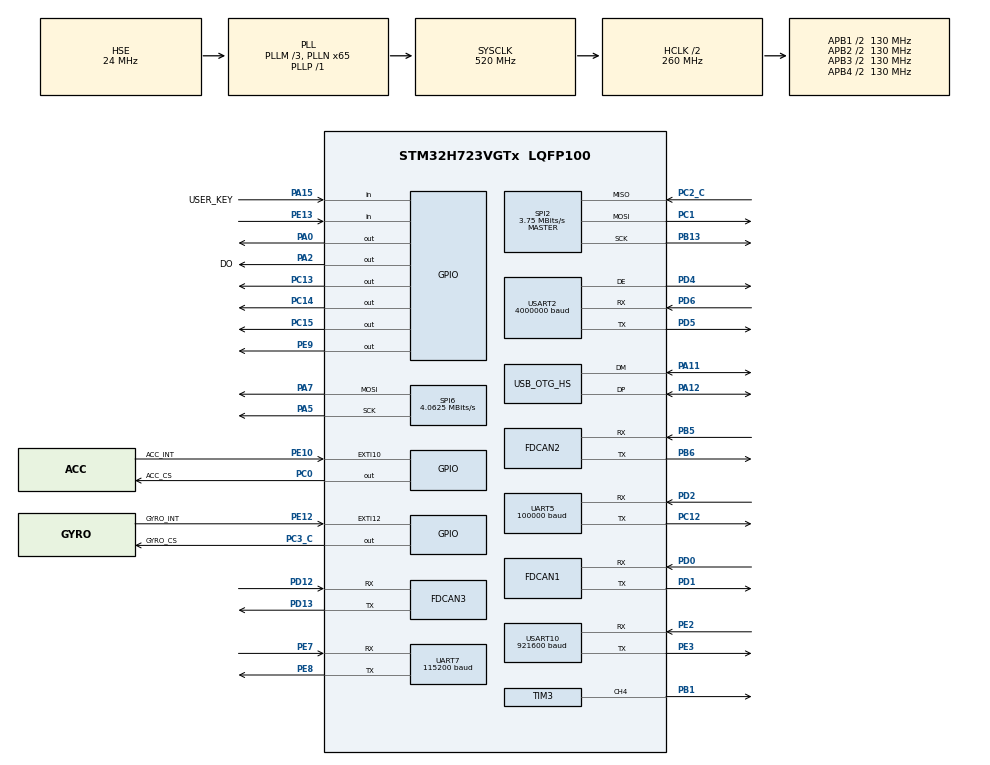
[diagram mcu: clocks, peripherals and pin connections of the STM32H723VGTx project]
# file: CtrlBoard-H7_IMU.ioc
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Dma.Request0=SPI2_RX
Dma.Request1=SPI2_TX
Dma.Request2=UART5_RX
Dma.Request3=USART2_RX
Dma.Request4=USART2_TX
Dma.Request5=USART10_RX
Dma.Request6=USART10_TX
Dma.Request7=UART5_TX
Dma.SPI2_RX.0.Direction=DMA_PERIPH_TO_MEMORY
Dma.SPI2_RX.0.EventEnable=DISABLE
Dma.SPI2_RX.0.FIFOMode=DMA_FIFOMODE_DISABLE
Dma.SPI2_RX.0.Instance=DMA1_Stream0
Dma.SPI2_RX.0.MemDataAlignment=DMA_MDATAALIGN_BYTE
Dma.SPI2_RX.0.MemInc=DMA_MINC_ENABLE
Dma.SPI2_RX.0.Mode=DMA_NORMAL
Dma.SPI2_RX.0.PeriphDataAlignment=DMA_PDATAALIGN_BYTE
Dma.SPI2_RX.0.PeriphInc=DMA_PINC_DISABLE
Dma.SPI2_RX.0.Polarity=HAL_DMAMUX_REQ_GEN_RISING
Dma.SPI2_RX.0.Priority=DMA_PRIORITY_VERY_HIGH
Dma.SPI2_RX.0.RequestNumber=1
Dma.SPI2_RX.0.SignalID=NONE
Dma.SPI2_RX.0.SyncEnable=DISABLE
Dma.SPI2_RX.0.SyncPolarity=HAL_DMAMUX_SYNC_NO_EVENT
Dma.SPI2_RX.0.SyncRequestNumber=1
Dma.SPI2_RX.0.SyncSignalID=NONE
Dma.SPI2_TX.1.Direction=DMA_MEMORY_TO_PERIPH
Dma.SPI2_TX.1.EventEnable=DISABLE
Dma.SPI2_TX.1.FIFOMode=DMA_FIFOMODE_DISABLE
Dma.SPI2_TX.1.Instance=DMA1_Stream1
Dma.SPI2_TX.1.MemDataAlignment=DMA_MDATAALIGN_BYTE
Dma.SPI2_TX.1.MemInc=DMA_MINC_ENABLE
Dma.SPI2_TX.1.Mode=DMA_NORMAL
Dma.SPI2_TX.1.PeriphDataAlignment=DMA_PDATAALIGN_BYTE
Dma.SPI2_TX.1.PeriphInc=DMA_PINC_DISABLE
Dma.SPI2_TX.1.Polarity=HAL_DMAMUX_REQ_GEN_RISING
Dma.SPI2_TX.1.Priority=DMA_PRIORITY_HIGH
Dma.SPI2_TX.1.RequestNumber=1
Dma.SPI2_TX.1.SignalID=NONE
Dma.SPI2_TX.1.SyncEnable=DISABLE
Dma.SPI2_TX.1.SyncPolarity=HAL_DMAMUX_SYNC_NO_EVENT
Dma.SPI2_TX.1.SyncRequestNumber=1
Dma.SPI2_TX.1.SyncSignalID=NONE
Dma.UART5_RX.2.Direction=DMA_PERIPH_TO_MEMORY
Dma.UART5_RX.2.EventEnable=DISABLE
Dma.UART5_RX.2.FIFOMode=DMA_FIFOMODE_DISABLE
Dma.UART5_RX.2.Instance=DMA1_Stream2
Dma.UART5_RX.2.MemDataAlignment=DMA_MDATAALIGN_BYTE
Dma.UART5_RX.2.MemInc=DMA_MINC_ENABLE
Dma.UART5_RX.2.Mode=DMA_CIRCULAR
Dma.UART5_RX.2.PeriphDataAlignment=DMA_PDATAALIGN_BYTE
Dma.UART5_RX.2.PeriphInc=DMA_PINC_DISABLE
Dma.UART5_RX.2.Polarity=HAL_DMAMUX_REQ_GEN_RISING
Dma.UART5_RX.2.Priority=DMA_PRIORITY_VERY_HIGH
Dma.UART5_RX.2.RequestNumber=1
Dma.UART5_RX.2.SignalID=NONE
Dma.UART5_RX.2.SyncEnable=DISABLE
Dma.UART5_RX.2.SyncPolarity=HAL_DMAMUX_SYNC_NO_EVENT
Dma.UART5_RX.2.SyncRequestNumber=1
Dma.UART5_RX.2.SyncSignalID=NONE
Dma.UART5_TX.7.Direction=DMA_MEMORY_TO_PERIPH
Dma.UART5_TX.7.EventEnable=DISABLE
Dma.UART5_TX.7.FIFOMode=DMA_FIFOMODE_DISABLE
Dma.UART5_TX.7.Instance=DMA1_Stream7
Dma.UART5_TX.7.MemDataAlignment=DMA_MDATAALIGN_BYTE
Dma.UART5_TX.7.MemInc=DMA_MINC_ENABLE
Dma.UART5_TX.7.Mode=DMA_NORMAL
Dma.UART5_TX.7.PeriphDataAlignment=DMA_PDATAALIGN_BYTE
Dma.UART5_TX.7.PeriphInc=DMA_PINC_DISABLE
Dma.UART5_TX.7.Polarity=HAL_DMAMUX_REQ_GEN_RISING
Dma.UART5_TX.7.Priority=DMA_PRIORITY_VERY_HIGH
Dma.UART5_TX.7.RequestNumber=1
Dma.UART5_TX.7.SignalID=NONE
Dma.UART5_TX.7.SyncEnable=DISABLE
Dma.UART5_TX.7.SyncPolarity=HAL_DMAMUX_SYNC_NO_EVENT
Dma.UART5_TX.7.SyncRequestNumber=1
Dma.UART5_TX.7.SyncSignalID=NONE
Dma.USART10_RX.5.Direction=DMA_PERIPH_TO_MEMORY
Dma.USART10_RX.5.EventEnable=DISABLE
Dma.USART10_RX.5.FIFOMode=DMA_FIFOMODE_DISABLE
Dma.USART10_RX.5.Instance=DMA1_Stream5
Dma.USART10_RX.5.MemDataAlignment=DMA_MDATAALIGN_BYTE
Dma.USART10_RX.5.MemInc=DMA_MINC_ENABLE
Dma.USART10_RX.5.Mode=DMA_CIRCULAR
Dma.USART10_RX.5.PeriphDataAlignment=DMA_PDATAALIGN_BYTE
Dma.USART10_RX.5.PeriphInc=DMA_PINC_DISABLE
Dma.USART10_RX.5.Polarity=HAL_DMAMUX_REQ_GEN_RISING
Dma.USART10_RX.5.Priority=DMA_PRIORITY_HIGH
Dma.USART10_RX.5.RequestNumber=1
Dma.USART10_RX.5.SignalID=NONE
Dma.USART10_RX.5.SyncEnable=DISABLE
Dma.USART10_RX.5.SyncPolarity=HAL_DMAMUX_SYNC_NO_EVENT
Dma.USART10_RX.5.SyncRequestNumber=1
Dma.USART10_RX.5.SyncSignalID=NONE
Dma.USART10_TX.6.Direction=DMA_MEMORY_TO_PERIPH
Dma.USART10_TX.6.EventEnable=DISABLE
Dma.USART10_TX.6.FIFOMode=DMA_FIFOMODE_DISABLE
Dma.USART10_TX.6.Instance=DMA1_Stream6
Dma.USART10_TX.6.MemDataAlignment=DMA_MDATAALIGN_BYTE
Dma.USART10_TX.6.MemInc=DMA_MINC_ENABLE
Dma.USART10_TX.6.Mode=DMA_NORMAL
Dma.USART10_TX.6.PeriphDataAlignment=DMA_PDATAALIGN_BYTE
Dma.USART10_TX.6.PeriphInc=DMA_PINC_DISABLE
Dma.USART10_TX.6.Polarity=HAL_DMAMUX_REQ_GEN_RISING
Dma.USART10_TX.6.Priority=DMA_PRIORITY_HIGH
Dma.USART10_TX.6.RequestNumber=1
Dma.USART10_TX.6.SignalID=NONE
Dma.USART10_TX.6.SyncEnable=DISABLE
Dma.USART10_TX.6.SyncPolarity=HAL_DMAMUX_SYNC_NO_EVENT
Dma.USART10_TX.6.SyncRequestNumber=1
Dma.USART10_TX.6.SyncSignalID=NONE
Dma.USART2_RX.3.Direction=DMA_PERIPH_TO_MEMORY
Dma.USART2_RX.3.EventEnable=DISABLE
Dma.USART2_RX.3.FIFOMode=DMA_FIFOMODE_DISABLE
Dma.USART2_RX.3.Instance=DMA1_Stream3
Dma.USART2_RX.3.MemDataAlignment=DMA_MDATAALIGN_BYTE
Dma.USART2_RX.3.MemInc=DMA_MINC_ENABLE
Dma.USART2_RX.3.Mode=DMA_CIRCULAR
Dma.USART2_RX.3.PeriphDataAlignment=DMA_PDATAALIGN_BYTE
Dma.USART2_RX.3.PeriphInc=DMA_PINC_DISABLE
Dma.USART2_RX.3.Polarity=HAL_DMAMUX_REQ_GEN_RISING
Dma.USART2_RX.3.Priority=DMA_PRIORITY_HIGH
Dma.USART2_RX.3.RequestNumber=1
Dma.USART2_RX.3.SignalID=NONE
Dma.USART2_RX.3.SyncEnable=DISABLE
Dma.USART2_RX.3.SyncPolarity=HAL_DMAMUX_SYNC_NO_EVENT
Dma.USART2_RX.3.SyncRequestNumber=1
Dma.USART2_RX.3.SyncSignalID=NONE
Dma.USART2_TX.4.Direction=DMA_MEMORY_TO_PERIPH
Dma.USART2_TX.4.EventEnable=DISABLE
Dma.USART2_TX.4.FIFOMode=DMA_FIFOMODE_DISABLE
Dma.USART2_TX.4.Instance=DMA1_Stream4
Dma.USART2_TX.4.MemDataAlignment=DMA_MDATAALIGN_BYTE
Dma.USART2_TX.4.MemInc=DMA_MINC_ENABLE
Dma.USART2_TX.4.Mode=DMA_NORMAL
Dma.USART2_TX.4.PeriphDataAlignment=DMA_PDATAALIGN_BYTE
Dma.USART2_TX.4.PeriphInc=DMA_PINC_DISABLE
Dma.USART2_TX.4.Polarity=HAL_DMAMUX_REQ_GEN_RISING
Dma.USART2_TX.4.Priority=DMA_PRIORITY_HIGH
Dma.USART2_TX.4.RequestNumber=1
Dma.USART2_TX.4.SignalID=NONE
Dma.USART2_TX.4.SyncEnable=DISABLE
Dma.USART2_TX.4.SyncPolarity=HAL_DMAMUX_SYNC_NO_EVENT
Dma.USART2_TX.4.SyncRequestNumber=1
Dma.USART2_TX.4.SyncSignalID=NONE
FDCAN1.CalculateBaudRateNominal=1000000
FDCAN1.CalculateTimeBitNominal=1000
FDCAN1.CalculateTimeQuantumNominal=25.0
FDCAN1.DataPrescaler=3
FDCAN1.DataSyncJumpWidth=10
FDCAN1.DataTimeSeg1=29
FDCAN1.DataTimeSeg2=10
FDCAN1.ExtFiltersNbr=5
FDCAN1.MessageRAMOffset=5
FDCAN1.NominalPrescaler=3
FDCAN1.NominalSyncJumpWidth=10
FDCAN1.NominalTimeSeg1=29
FDCAN1.NominalTimeSeg2=10
FDCAN1.ProtocolException=ENABLE
FDCAN1.RxFifo0ElmtSize=FDCAN_DATA_BYTES_8
FDCAN1.RxFifo0ElmtsNbr=8
FDCAN1.RxFifo1ElmtSize=FDCAN_DATA_BYTES_8
FDCAN1.StdFiltersNbr=5
FDCAN1.TxElmtSize=FDCAN_DATA_BYTES_8
FDCAN1.TxFifoQueueElmtsNbr=8
FDCAN2.CalculateBaudRateNominal=1000000
FDCAN2.CalculateTimeBitNominal=1000
FDCAN2.CalculateTimeQuantumNominal=25.0
FDCAN2.DataPrescaler=3
FDCAN2.DataSyncJumpWidth=10
FDCAN2.DataTimeSeg1=29
FDCAN2.DataTimeSeg2=10
FDCAN2.ExtFiltersNbr=5
FDCAN2.MessageRAMOffset=854
FDCAN2.NominalPrescaler=3
FDCAN2.NominalSyncJumpWidth=10
FDCAN2.NominalTimeSeg1=29
FDCAN2.NominalTimeSeg2=10
FDCAN2.ProtocolException=ENABLE
FDCAN2.RxFifo1ElmtSize=FDCAN_DATA_BYTES_8
FDCAN2.RxFifo1ElmtsNbr=8
FDCAN2.StdFiltersNbr=5
FDCAN2.TxElmtSize=FDCAN_DATA_BYTES_8
FDCAN2.TxFifoQueueElmtsNbr=8
FDCAN3.CalculateBaudRateNominal=1000000
FDCAN3.CalculateTimeBitNominal=1000
FDCAN3.CalculateTimeQuantumNominal=25.0
FDCAN3.DataPrescaler=3
FDCAN3.DataSyncJumpWidth=10
FDCAN3.DataTimeSeg1=29
FDCAN3.DataTimeSeg2=5
FDCAN3.ExtFiltersNbr=5
FDCAN3.MessageRAMOffset=1709
FDCAN3.NominalPrescaler=3
FDCAN3.NominalSyncJumpWidth=10
FDCAN3.NominalTimeSeg1=29
FDCAN3.NominalTimeSeg2=10
FDCAN3.ProtocolException=ENABLE
FDCAN3.RxFifo0ElmtSize=FDCAN_DATA_BYTES_8
FDCAN3.RxFifo0ElmtsNbr=4
FDCAN3.StdFiltersNbr=5
FDCAN3.TxElmtSize=FDCAN_DATA_BYTES_8
FDCAN3.TxFifoQueueElmtsNbr=8
FREERTOS.MEMORY_ALLOCATION=0
FREERTOS.Tasks01=serviceTask,8,256,StartServiceTask,Default,NULL,Dynamic,NULL,NULL;inputTask,48,512,StartInputTask,Default,NULL,Dynamic,NULL,NULL
FREERTOS.configENABLE_FPU=1
FREERTOS.configTOTAL_HEAP_SIZE=30720
Mcu.Family=STM32H7
Mcu.Name=STM32H723VGTx
Mcu.Package=LQFP100
NVIC.DMA1_Stream0_IRQn=true\:6\:0\:true\:false\:true\:true\:false\:true\:true
NVIC.DMA1_Stream1_IRQn=true\:6\:0\:true\:false\:true\:true\:false\:true\:true
NVIC.DMA1_Stream2_IRQn=true\:5\:0\:false\:false\:true\:true\:false\:true\:true
NVIC.DMA1_Stream3_IRQn=true\:5\:0\:false\:false\:true\:true\:false\:true\:true
NVIC.DMA1_Stream4_IRQn=true\:5\:0\:false\:false\:true\:true\:false\:true\:true
NVIC.DMA1_Stream5_IRQn=true\:5\:0\:false\:false\:true\:true\:false\:true\:true
NVIC.DMA1_Stream6_IRQn=true\:5\:0\:false\:false\:true\:true\:false\:true\:true
NVIC.DMA1_Stream7_IRQn=true\:5\:0\:false\:false\:true\:true\:false\:true\:true
NVIC.FDCAN1_IT0_IRQn=true\:6\:0\:true\:false\:true\:true\:true\:true\:true
NVIC.FDCAN2_IT0_IRQn=true\:5\:0\:true\:false\:true\:true\:true\:true\:true
NVIC.FDCAN3_IT0_IRQn=true\:5\:0\:false\:false\:true\:true\:true\:true\:true
NVIC.OTG_HS_IRQn=true\:5\:0\:false\:false\:true\:true\:false\:true\:true
NVIC.PriorityGroup=NVIC_PRIORITYGROUP_4
NVIC.SPI2_IRQn=true\:5\:0\:true\:false\:true\:true\:false\:true\:true
NVIC.TIM2_IRQn=true\:15\:0\:false\:false\:true\:false\:false\:true\:true
NVIC.TimeBase=TIM2_IRQn
NVIC.TimeBaseIP=TIM2
NVIC.UART5_IRQn=true\:5\:0\:false\:false\:true\:true\:true\:true\:true
NVIC.UART7_IRQn=true\:5\:0\:false\:false\:true\:true\:true\:true\:true
NVIC.USART10_IRQn=true\:5\:0\:false\:false\:true\:true\:true\:true\:true
NVIC.USART2_IRQn=true\:5\:0\:false\:false\:true\:true\:true\:true\:true
PA0.GPIO_ModeDefaultOutputPP=GPIO_MODE_OUTPUT_PP
PA0.GPIO_PuPd=GPIO_PULLUP
PA0.GPIO_Speed=GPIO_SPEED_FREQ_VERY_HIGH
PA0.Signal=GPIO_Output
PA11.Mode=Device_Only_FS
PA11.Signal=USB_OTG_HS_DM
PA12.Mode=Device_Only_FS
PA12.Signal=USB_OTG_HS_DP
PA13(JTMS/SWDIO).Mode=Serial_Wire
PA13(JTMS/SWDIO).Signal=DEBUG_JTMS-SWDIO
PA14(JTCK/SWCLK).Mode=Serial_Wire
PA14(JTCK/SWCLK).Signal=DEBUG_JTCK-SWCLK
PA15(JTDI).GPIO_Label=USER_KEY
PA15(JTDI).Signal=GPIO_Input
PA2.GPIO_Label=DO
PA2.GPIO_PuPd=GPIO_PULLUP
PA2.GPIO_Speed=GPIO_SPEED_FREQ_VERY_HIGH
PA2.PinState=GPIO_PIN_SET
PA2.Signal=GPIO_Output
PA5.Mode=TX_Only_Simplex_Unidirect_Master
PA5.Signal=SPI6_SCK
PA7.Mode=TX_Only_Simplex_Unidirect_Master
PA7.Signal=SPI6_MOSI
PB1.Signal=S_TIM3_CH4
PB13.GPIO_Speed=GPIO_SPEED_FREQ_VERY_HIGH
PB13.Mode=Full_Duplex_Master
PB13.Signal=SPI2_SCK
PB5.Mode=FDCAN_Activate
PB5.Signal=FDCAN2_RX
PB6.Mode=FDCAN_Activate
PB6.Signal=FDCAN2_TX
PC0.GPIO_Label=ACC_CS
PC0.GPIO_Speed=GPIO_SPEED_FREQ_VERY_HIGH
PC0.PinState=GPIO_PIN_SET
PC0.Signal=GPIO_Output
PC1.GPIO_Speed=GPIO_SPEED_FREQ_VERY_HIGH
PC1.Mode=Full_Duplex_Master
PC1.Signal=SPI2_MOSI
PC12.Mode=Asynchronous
PC12.Signal=UART5_TX
PC13.Signal=GPIO_Output
PC14-OSC32_IN.Signal=GPIO_Output
PC15-OSC32_OUT.PinState=GPIO_PIN_SET
PC15-OSC32_OUT.Signal=GPIO_Output
PC2_C.GPIO_Speed=GPIO_SPEED_FREQ_VERY_HIGH
PC2_C.Mode=Full_Duplex_Master
PC2_C.Signal=SPI2_MISO
PC3_C.GPIO_Label=GYRO_CS
PC3_C.GPIO_Speed=GPIO_SPEED_FREQ_VERY_HIGH
PC3_C.PinState=GPIO_PIN_SET
PC3_C.Signal=GPIO_Output
PD0.Mode=FDCAN_Activate
PD0.Signal=FDCAN1_RX
PD1.Mode=FDCAN_Activate
PD1.Signal=FDCAN1_TX
PD12.Mode=FDCAN_Activate
PD12.Signal=FDCAN3_RX
PD13.Mode=FDCAN_Activate
PD13.Signal=FDCAN3_TX
PD2.Mode=Asynchronous
PD2.Signal=UART5_RX
PD4.Mode=Hardware Flow Control (RS485)
PD4.Signal=USART2_DE
PD5.Mode=Asynchronous
PD5.Signal=USART2_TX
PD6.Mode=Asynchronous
PD6.Signal=USART2_RX
PE10.GPIO_Label=ACC_INT
PE10.Signal=GPXTI10
PE12.GPIO_Label=GYRO_INT
PE12.Signal=GPXTI12
PE13.GPIO_PuPd=GPIO_PULLUP
PE13.Signal=GPIO_Input
PE2.Mode=Asynchronous
PE2.Signal=USART10_RX
PE3.Mode=Asynchronous
PE3.Signal=USART10_TX
PE7.GPIO_PuPd=GPIO_PULLUP
PE7.Mode=Asynchronous
PE7.Signal=UART7_RX
PE8.Mode=Asynchronous
PE8.Signal=UART7_TX
PE9.GPIO_ModeDefaultOutputPP=GPIO_MODE_OUTPUT_PP
PE9.GPIO_PuPd=GPIO_PULLUP
PE9.GPIO_Speed=GPIO_SPEED_FREQ_VERY_HIGH
PE9.Signal=GPIO_Output
PH0-OSC_IN.Mode=HSE-External-Oscillator
PH0-OSC_IN.Signal=RCC_OSC_IN
PH1-OSC_OUT.Mode=HSE-External-Oscillator
PH1-OSC_OUT.Signal=RCC_OSC_OUT
ProjectManager.HeapSize=0x200
ProjectManager.StackSize=0x800
ProjectManager.TargetToolchain=MDK-ARM V5.27
RCC.ADCFreq_Value=120000000
RCC.APB1Freq_Value=130000000
RCC.APB2Freq_Value=130000000
RCC.APB3Freq_Value=130000000
RCC.APB4Freq_Value=130000000
RCC.CortexFreq_Value=520000000
RCC.D1PPRE=RCC_APB3_DIV2
RCC.D2PPRE1=RCC_APB1_DIV2
RCC.D2PPRE2=RCC_APB2_DIV2
RCC.D3PPRE=RCC_APB4_DIV2
RCC.DIVM1=3
RCC.DIVM2=4
RCC.DIVN1=65
RCC.DIVN2=40
RCC.DIVP1=1
RCC.DIVQ1=4
RCC.DIVR1=4
RCC.FDCANCLockSelection=RCC_FDCANCLKSOURCE_PLL2
RCC.HCLKFreq_Value=260000000
RCC.HPRE=RCC_HCLK_DIV2
RCC.HSE_VALUE=24000000
RCC.PLL2FRACN=0
RCC.PLL3FRACN=0
RCC.PLLFRACN=0
RCC.PLLSourceVirtual=RCC_PLLSOURCE_HSE
RCC.SPI123CLockSelection=RCC_SPI123CLKSOURCE_PLL2
RCC.SYSCLKFreq_VALUE=520000000
RCC.SYSCLKSource=RCC_SYSCLKSOURCE_PLLCLK
RCC.USART16CLockSelection=RCC_USART16910CLKSOURCE_PLL2
RCC.USART234578CLockSelection=RCC_USART234578CLKSOURCE_PLL2
RCC.USBCLockSelection=RCC_USBCLKSOURCE_HSI48
RCC.USBFreq_Value=48000000
SH.S_TIM3_CH4.0=TIM3_CH4,PWM Generation4 CH4
SPI2.BaudRatePrescaler=SPI_BAUDRATEPRESCALER_32
SPI2.CLKPhase=SPI_PHASE_2EDGE
SPI2.CLKPolarity=SPI_POLARITY_HIGH
SPI2.CalculateBaudRate=3.75 MBits/s
SPI2.DataSize=SPI_DATASIZE_8BIT
SPI2.Direction=SPI_DIRECTION_2LINES
SPI2.Mode=SPI_MODE_MASTER
SPI2.VirtualType=VM_MASTER
SPI6.BaudRatePrescaler=SPI_BAUDRATEPRESCALER_32
SPI6.CalculateBaudRate=4.0625 MBits/s
SPI6.DataSize=SPI_DATASIZE_8BIT
SPI6.Direction=SPI_DIRECTION_2LINES_TXONLY
SPI6.MasterKeepIOState=SPI_MASTER_KEEP_IO_STATE_ENABLE
SPI6.Mode=SPI_MODE_MASTER
SPI6.VirtualType=VM_MASTER
TIM3.AutoReloadPreload=TIM_AUTORELOAD_PRELOAD_ENABLE
TIM3.Channel-PWM\ Generation4\ CH4=TIM_CHANNEL_4
TIM3.Period=10000-1
TIM3.Prescaler=24-1
UART5.BaudRate=100000
UART5.FIFOMode=FIFOMODE_ENABLE
UART5.Mode=MODE_TX_RX
UART5.Parity=PARITY_EVEN
UART5.StopBits=UART_STOPBITS_1
UART5.WordLength=WORDLENGTH_9B
UART7.BaudRate=115200
UART7.Mode=MODE_TX_RX
USART10.BaudRate=921600
USART10.FIFOMode=FIFOMODE_DISABLE
USART10.VirtualMode=VM_ASYNC
USART2.BaudRate=4000000
USART2.OverSampling=UART_OVERSAMPLING_16
USART2.UART_DEAssertionTime=0
USART2.UART_DEDeassertionTime=0
USART2.VirtualMode-Asynchronous=VM_ASYNC
USART2.VirtualMode-Hardware\ Flow\ Control\ (RS485)=VM_ASYNC
USB_DEVICE.CLASS_NAME_HS=CDC
USB_DEVICE.VirtualMode=Cdc
USB_DEVICE.VirtualModeHS=Cdc_HS
USB_OTG_HS.VirtualMode-Device_Only_FS=Device_Only_FS
VP_FREERTOS_VS_CMSIS_V2.Mode=CMSIS_V2
VP_MEMORYMAP_VS_MEMORYMAP.Mode=CurAppReg
VP_SYS_VS_tim2.Mode=TIM2
VP_USB_DEVICE_VS_USB_DEVICE_CDC_HS.Mode=CDC_HS
board=custom

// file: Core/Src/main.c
/* USER CODE BEGIN Header */
/**
  ******************************************************************************
  * @file           : main.c
  * @brief          : Main program body
  ******************************************************************************
  * @attention
  *
  * Copyright (c) 2024 STMicroelectronics.
  * All rights reserved.
  *
  * This software is licensed under terms that can be found in the LICENSE file
  * in the root directory of this software component.
  * If no LICENSE file comes with this software, it is provided AS-IS.
  *
  ******************************************************************************
  */
/* USER CODE END Header */
#include "main.h"
#include "FreeRTOS.h"
#include "cmsis_os2.h"
#include "dma.h"
#include "fdcan.h"
#include "spi.h"
#include "tim.h"
#include "usart.h"
#include "usb_device.h"
#include "gpio.h"

/* USER CODE BEGIN Includes */
#include "robot_board_config.h"
#include "BMI088driver.h"
#include "kalman_filter.h"
#include "mahony_filter.h"
#include "bsp_dwt.h"
#include "BMI088Middleware.h"
#include "bsp_can.h"
#include "bsp_uart.h"
#include "user_sys_config.h"
#include "PS2_Device.h"
/* USER CODE END Includes */

void SystemClock_Config(void);
void PeriphCommonClock_Config(void);
void MX_FREERTOS_Init(void);

int main(void)
{

  /* MCU Configuration--------------------------------------------------------*/

  /* Reset of all peripherals, Initializes the Flash interface and the Systick. */
  HAL_Init();

  /* USER CODE BEGIN Init */
//06 01 00 00 00 00 00 00 00 00 00 00 00 00 80 3F
  /* USER CODE END Init */

  /* Configure the system clock */
  SystemClock_Config();

  /* Configure the peripherals common clocks */
  PeriphCommonClock_Config();

  /* Initialize all configured peripherals */
  MX_GPIO_Init();
  MX_DMA_Init();
  MX_SPI2_Init();
  MX_FDCAN1_Init();
  MX_FDCAN2_Init();
  MX_TIM3_Init();
  MX_FDCAN3_Init();
  MX_UART5_Init();
  MX_USART2_UART_Init();
  MX_USART10_UART_Init();
  MX_UART7_Init();
  MX_SPI6_Init();
  /* USER CODE BEGIN 2 */
  if (!DWT_Init(SystemCoreClock))
  {
    Error_Handler();
  }
  BSP_USART_Init();
  //HAL_Delay(SYS_DELAY_START_TIME);
#if ROBOT_BOARD_ROLE == ROBOT_BOARD_CHASSIS
  while (BMI088_init(&hspi2, 0) != BMI088_NO_ERROR)
  {
	  ;
  }
#endif
  Power_OUT1_ON;
  Power_OUT2_ON;

  /* 两种板型均启动三路 CAN；电机反馈仍由所属板型的控制任务处理。 */
  FDCAN1_Config();
  FDCAN2_Config();
  FDCAN3_Config();

  /* USER CODE END 2 */

  /* Init scheduler */
  osKernelInitialize();  /* Call init function for freertos objects (in cmsis_os2.c) */
  MX_FREERTOS_Init();

  /* Start scheduler */
  osKernelStart();

  /* We should never get here as control is now taken by the scheduler */

  /* Infinite loop */
  while (1)
  {

  }
}

void SystemClock_Config(void)
{
  RCC_OscInitTypeDef RCC_OscInitStruct = {0};
  RCC_ClkInitTypeDef RCC_ClkInitStruct = {0};

  /** Supply configuration update enable
  */
  HAL_PWREx_ConfigSupply(PWR_LDO_SUPPLY);

  /** Configure the main internal regulator output voltage
  */
  __HAL_PWR_VOLTAGESCALING_CONFIG(PWR_REGULATOR_VOLTAGE_SCALE0);

  while(!__HAL_PWR_GET_FLAG(PWR_FLAG_VOSRDY)) {}

  /** Initializes the RCC Oscillators according to the specified parameters
  * in the RCC_OscInitTypeDef structure.
  */
  RCC_OscInitStruct.OscillatorType = RCC_OSCILLATORTYPE_HSI48|RCC_OSCILLATORTYPE_HSE;
  RCC_OscInitStruct.HSEState = RCC_HSE_ON;
  RCC_OscInitStruct.HSI48State = RCC_HSI48_ON;
  RCC_OscInitStruct.PLL.PLLState = RCC_PLL_ON;
  RCC_OscInitStruct.PLL.PLLSource = RCC_PLLSOURCE_HSE;
  RCC_OscInitStruct.PLL.PLLM = 3;
  RCC_OscInitStruct.PLL.PLLN = 65;
  RCC_OscInitStruct.PLL.PLLP = 1;
  RCC_OscInitStruct.PLL.PLLQ = 4;
  RCC_OscInitStruct.PLL.PLLR = 4;
  RCC_OscInitStruct.PLL.PLLRGE = RCC_PLL1VCIRANGE_3;
  RCC_OscInitStruct.PLL.PLLVCOSEL = RCC_PLL1VCOWIDE;
  RCC_OscInitStruct.PLL.PLLFRACN = 0;
  if (HAL_RCC_OscConfig(&RCC_OscInitStruct) != HAL_OK)
  {
    Error_Handler();
  }

  /** Initializes the CPU, AHB and APB buses clocks
  */
  RCC_ClkInitStruct.ClockType = RCC_CLOCKTYPE_HCLK|RCC_CLOCKTYPE_SYSCLK
                              |RCC_CLOCKTYPE_PCLK1|RCC_CLOCKTYPE_PCLK2
                              |RCC_CLOCKTYPE_D3PCLK1|RCC_CLOCKTYPE_D1PCLK1;
  RCC_ClkInitStruct.SYSCLKSource = RCC_SYSCLKSOURCE_PLLCLK;
  RCC_ClkInitStruct.SYSCLKDivider = RCC_SYSCLK_DIV1;
  RCC_ClkInitStruct.AHBCLKDivider = RCC_HCLK_DIV2;
  RCC_ClkInitStruct.APB3CLKDivider = RCC_APB3_DIV2;
  RCC_ClkInitStruct.APB1CLKDivider = RCC_APB1_DIV2;
  RCC_ClkInitStruct.APB2CLKDivider = RCC_APB2_DIV2;
  RCC_ClkInitStruct.APB4CLKDivider = RCC_APB4_DIV2;

  if (HAL_RCC_ClockConfig(&RCC_ClkInitStruct, FLASH_LATENCY_3) != HAL_OK)
  {
    Error_Handler();
  }
}

void PeriphCommonClock_Config(void)
{
  RCC_PeriphCLKInitTypeDef PeriphClkInitStruct = {0};

  /** Initializes the peripherals clock
  */
  PeriphClkInitStruct.PeriphClockSelection = RCC_PERIPHCLK_SPI2|RCC_PERIPHCLK_UART5
                              |RCC_PERIPHCLK_FDCAN|RCC_PERIPHCLK_USART10
                              |RCC_PERIPHCLK_UART7|RCC_PERIPHCLK_USART2;
  PeriphClkInitStruct.PLL2.PLL2M = 4;
  PeriphClkInitStruct.PLL2.PLL2N = 40;
  PeriphClkInitStruct.PLL2.PLL2P = 2;
  PeriphClkInitStruct.PLL2.PLL2Q = 2;
  PeriphClkInitStruct.PLL2.PLL2R = 2;
  PeriphClkInitStruct.PLL2.PLL2RGE = RCC_PLL2VCIRANGE_2;
  PeriphClkInitStruct.PLL2.PLL2VCOSEL = RCC_PLL2VCOWIDE;
  PeriphClkInitStruct.PLL2.PLL2FRACN = 0;
  PeriphClkInitStruct.Spi123ClockSelection = RCC_SPI123CLKSOURCE_PLL2;
  PeriphClkInitStruct.FdcanClockSelection = RCC_FDCANCLKSOURCE_PLL2;
  PeriphClkInitStruct.Usart234578ClockSelection = RCC_USART234578CLKSOURCE_PLL2;
  PeriphClkInitStruct.Usart16ClockSelection = RCC_USART16910CLKSOURCE_PLL2;
  if (HAL_RCCEx_PeriphCLKConfig(&PeriphClkInitStruct) != HAL_OK)
  {
    Error_Handler();
  }
}

void HAL_TIM_PeriodElapsedCallback(TIM_HandleTypeDef *htim)
{
  /* USER CODE BEGIN Callback 0 */
  if (htim->Instance == TIM2)
  {
    /* 1 ms 周期维护 DWT 的 64 位软件扩展，避免遗漏 CYCCNT 回绕。 */
    DWT_Update();
  }
  /* USER CODE END Callback 0 */
  if (htim->Instance == TIM2)
  {
    HAL_IncTick();
  }
}

void Error_Handler(void)
{
  __disable_irq();
  while (1)
  {
  }
}

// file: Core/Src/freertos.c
/* USER CODE BEGIN Header */
/**
  ******************************************************************************
  * File Name          : freertos.c
  * Description        : Code for freertos applications
  ******************************************************************************
  * @attention
  *
  * Copyright (c) 2026 STMicroelectronics.
  * All rights reserved.
  *
  * This software is licensed under terms that can be found in the LICENSE file
  * in the root directory of this software component.
  * If no LICENSE file comes with this software, it is provided AS-IS.
  *
  ******************************************************************************
  */
/* USER CODE END Header */

#include "FreeRTOS.h"
#include "task.h"
#include "main.h"
#include "FreeRTOS.h"
#include "cmsis_os2.h"

/* USER CODE BEGIN Includes */
#include "robot_board_config.h"
#if ROBOT_BOARD_ROLE == ROBOT_BOARD_ARM
#include "arm_task.h"
#else
#include "chassis_task.h"
#include "ins_task.h"
#endif
#include "input_task.h"
#include "service_task.h"
/* USER CODE END Includes */

/* USER CODE BEGIN Variables */
/* 板型专属任务由用户代码持有，CubeMX 仅生成公共任务，重生成时保留本区域。 */
#if ROBOT_BOARD_ROLE == ROBOT_BOARD_CHASSIS
/* Definitions for INS_TASK */
osThreadId_t INS_TASKHandle;
const osThreadAttr_t INS_TASK_attributes = {
  .name = "INS_TASK",
  .stack_size = 512 * 4,
  .priority = (osPriority_t) osPriorityLow,
};

/* Definitions for chassisTask */
osThreadId_t chassisTaskHandle;
const osThreadAttr_t chassisTask_attributes = {
  .name = "chassisTask",
  .stack_size = 512 * 4,
  .priority = (osPriority_t) osPriorityHigh,
};
#else
/* Definitions for armTask */
osThreadId_t armTaskHandle;
const osThreadAttr_t armTask_attributes = {
  .name = "armTask",
  .stack_size = 512 * 4,
  .priority = (osPriority_t) osPriorityHigh,
};
#endif
/* USER CODE END Variables */
/* Definitions for serviceTask */
osThreadId_t serviceTaskHandle;
const osThreadAttr_t serviceTask_attributes = {
  .name = "serviceTask",
  .stack_size = 256 * 4,
  .priority = (osPriority_t) osPriorityLow,
};
/* Definitions for inputTask */
osThreadId_t inputTaskHandle;
const osThreadAttr_t inputTask_attributes = {
  .name = "inputTask",
  .stack_size = 512 * 4,
  .priority = (osPriority_t) osPriorityRealtime,
};

/* USER CODE BEGIN FunctionPrototypes */
#if ROBOT_BOARD_ROLE == ROBOT_BOARD_CHASSIS
void INS_Task(void *argument);
void StartChassisTask(void *argument);
#else
void StartArmTask(void *argument);
#endif
/* USER CODE END FunctionPrototypes */

void StartServiceTask(void *argument);
void StartInputTask(void *argument);

extern void MX_USB_DEVICE_Init(void);
void MX_FREERTOS_Init(void); /* (MISRA C 2004 rule 8.1) */

void MX_FREERTOS_Init(void) {

  /* Create the thread(s) */
  /* creation of serviceTask */
  serviceTaskHandle = osThreadNew(StartServiceTask, NULL, &serviceTask_attributes);

  /* creation of inputTask */
  inputTaskHandle = osThreadNew(StartInputTask, NULL, &inputTask_attributes);

  /* USER CODE BEGIN RTOS_THREADS */
  /* 板型专属任务只在当前板创建；声明、属性和入口均位于 CubeMX 保留区域。 */
#if ROBOT_BOARD_ROLE == ROBOT_BOARD_CHASSIS
  INS_TASKHandle = osThreadNew(INS_Task, NULL, &INS_TASK_attributes);
  chassisTaskHandle = osThreadNew(StartChassisTask, NULL, &chassisTask_attributes);
#else
  armTaskHandle = osThreadNew(StartArmTask, NULL, &armTask_attributes);
#endif
  /* USER CODE END RTOS_THREADS */

}

void StartServiceTask(void *argument)
{
  /* init code for USB_DEVICE */
  MX_USB_DEVICE_Init();
  /* USER CODE BEGIN StartServiceTask */
  (void)argument;
  ServiceTask_Run();
  osThreadExit();
  /* USER CODE END StartServiceTask */
}

void StartInputTask(void *argument)
{
  /* USER CODE BEGIN StartInputTask */
  (void)argument;
  InputTask_Run();
  osThreadExit();
  /* USER CODE END StartInputTask */
}

/* USER CODE BEGIN Application */
#if ROBOT_BOARD_ROLE == ROBOT_BOARD_CHASSIS
/**
 * @brief 底盘板 INS 任务入口，将 CMSIS 线程参数转换为现有运行入口。
 * @param argument 未使用；运行入口返回时结束本线程。
 */
void INS_Task(void *argument)
{
  (void)argument;
  InsTask_Run();
  osThreadExit();
}

/**
 * @brief 底盘板控制任务入口；本函数整体位于 CubeMX 保留区域。
 * @param argument 未使用；运行入口返回时结束本线程。
 */
void StartChassisTask(void *argument)
{
  (void)argument;
  ChassisTask_Run();
  osThreadExit();
}
#else
/**
 * @brief 机械臂板控制任务入口；本函数整体位于 CubeMX 保留区域。
 * @param argument 未使用；运行入口返回时结束本线程。
 */
void StartArmTask(void *argument)
{
  (void)argument;
  ArmTask_Run();
  osThreadExit();
}
#endif
/* USER CODE END Application */
